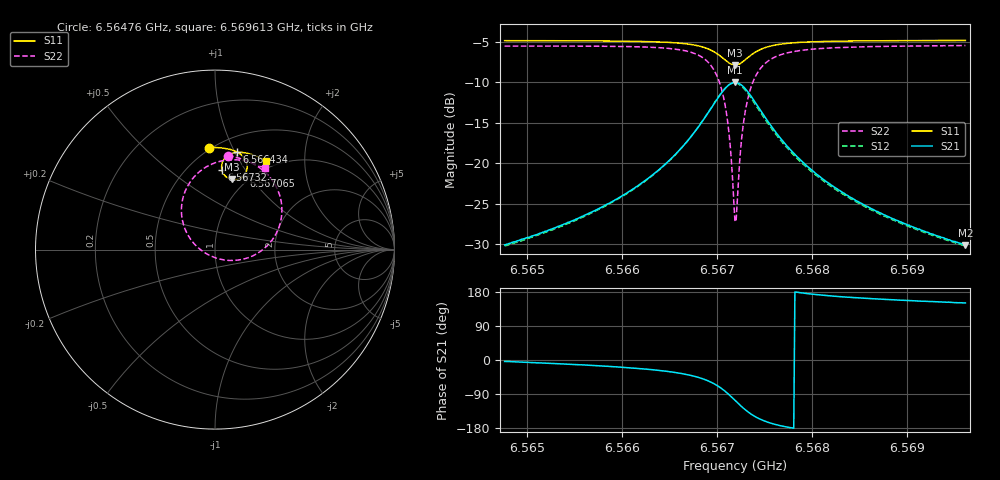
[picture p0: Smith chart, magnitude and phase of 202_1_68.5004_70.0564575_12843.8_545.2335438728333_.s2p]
#  HZ  S  RI  R  50.00
! Rohde & Schwarz Vector Network Analyzer
! Rohde-Schwarz,ZNB20-2Port,1311601062101988,3.16
! Created: UTC 3/20/2024, 5:12:47 PM
! freq[Hz]  re:S11  im:S11  re:S21  im:S21  re:S12  im:S12  re:S22  im:S22
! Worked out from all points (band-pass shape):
!   401 points, 6.56476 GHz to 6.569613 GHz, reference 50 ohm
!   highest |S21| = -10.05 dB at 6.567187 GHz (marker M1); lowest = -30.1 dB at 6.569613 GHz (marker M2)
!   |S21| within 3 dB of the highest: 6.566945 GHz to 6.56743 GHz (484.7 kHz wide, 0.00738 % of centre)
!   lowest |S11| = -7.9 dB at 6.567187 GHz (marker M3), VSWR 2.34, Z = 42.9 + j40 ohm
!   |S11| at or under -10 dB: nowhere
!   |S22| runs from -27.2 to -5.5 dB; largest |S21 - S12| = 0.016
!   S11 on the Smith chart (normalised r, x): 6.56476 GHz: 0.49, +0.82; 6.566434 GHz: 0.65, +1.02; 6.567065 GHz: 0.92, +0.94; 6.56732 GHz: 0.71, +0.79; 6.569613 GHz: 0.88, +1.30
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6.56476e9  -0.0316 0.5683  0.0313 -0.00209  0.0307 -0.00267  0.0704 0.5218
6.5655729e9  0.0369 0.5665  0.0458 -0.0103  0.0449 -0.011  0.1523 0.5041
6.5663858e9  0.117 0.5465  0.0809 -0.042  0.0798 -0.043  0.2723 0.4375
6.5664343e9  0.1226 0.5436  0.0845 -0.0464  0.0833 -0.0475  0.2822 0.4283
6.5666891e9  0.1549 0.5202  0.1072 -0.0863  0.1055 -0.0883  0.3412 0.35
6.5668711e9  0.1761 0.4836  0.1184 -0.1504  0.1153 -0.1538  0.3726 0.2267
6.5669803e9  0.1774 0.4461  0.1024 -0.2162  0.0965 -0.2205  0.3466 0.1017
6.5670652e9  0.1591 0.4112  0.0534 -0.2758  0.043 -0.2789  0.2553 -0.00861
6.5671016e9  0.1432 0.3986  0.0177 -0.2959  0.00515 -0.2971  0.1886 -0.0439
6.5671259e9  0.1299 0.3927  -0.0106 -0.3046  -0.0243 -0.3039  0.1364 -0.0573
6.5671744e9  0.0997 0.3895  -0.0733 -0.3052  -0.0875 -0.2998  0.0233 -0.052
6.5671865e9  0.0919 0.3908  -0.0889 -0.3016  -0.103 -0.2946  -0.00444 -0.0433
6.5671987e9  0.0844 0.393  -0.1043 -0.2962  -0.1179 -0.2882  -0.0311 -0.032
6.5672108e9  0.0771 0.3961  -0.1189 -0.2895  -0.1318 -0.2803  -0.056 -0.0181
6.5672593e9  0.0534 0.4145  -0.1674 -0.2509  -0.1763 -0.2383  -0.1357 0.0571
6.56732e9  0.0384 0.4448  -0.1997 -0.1908  -0.2031 -0.1774  -0.1823 0.167
6.5674049e9  0.0403 0.4832  -0.2033 -0.1165  -0.2019 -0.1058  -0.1762 0.2968
6.5675263e9  0.0616 0.5169  -0.1759 -0.0515  -0.1724 -0.045  -0.1153 0.4064
6.5677082e9  0.0967 0.5368  -0.1326 -0.00997  -0.1293 -0.00668  -0.0252 0.4731
6.5679994e9  0.1399 0.5423  -0.0895 0.00982  -0.0874 0.0112  0.0702 0.4994
6.5688123e9  0.2206 0.5244  -0.0434 0.0164  -0.0425 0.0168  0.2031 0.4844
6.5696131e9  0.2817 0.4963  -0.0272 0.0154  -0.0265 0.0156  0.279 0.4522
